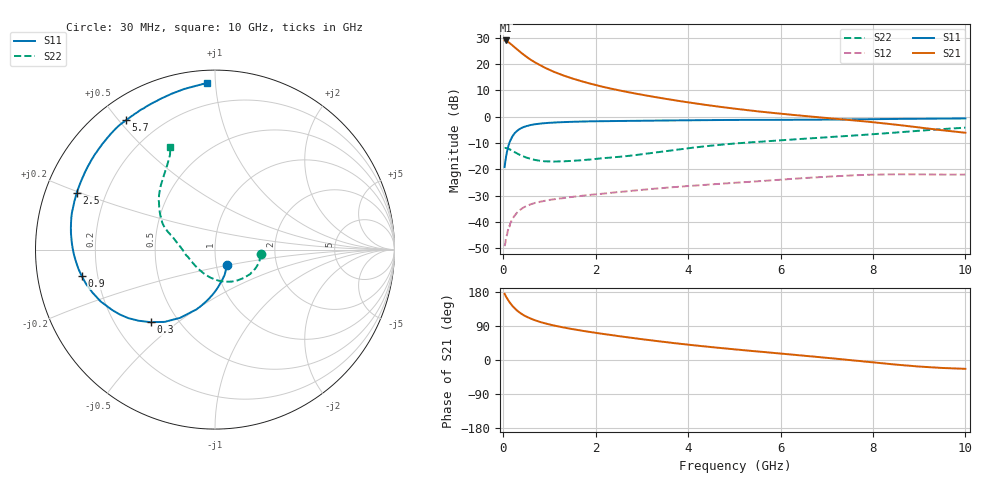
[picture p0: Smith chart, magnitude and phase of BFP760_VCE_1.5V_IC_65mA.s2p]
! Infineon Technologies  Discrete & RF Semiconductors
! BFP760
! VCE =  1.5 V,  IC =  65 mA
! Common Emitter S-Parameters:  Nov 2012
# GHz  S  MA  R  50
!  f  S11  S21  S12  S22
! GHz  MAG  ANG  MAG  ANG  MAG  ANG  MAG  ANG
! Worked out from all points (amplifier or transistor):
!   99 points, 30 MHz to 10 GHz, reference 50 ohm
!   highest |S21| = 29.0 dB at 50 MHz (marker M1)
!   |S21| within 3 dB of that: start of sweep to 274.6 MHz
!   unconditionally stable (mu >= 1): start of sweep to 598.7 MHz; 726 MHz to end of sweep
!   at 350 MHz: K = 1.13, MAG = 28.0 dB, |S12| = -35.5 dB
!   at 3.5 GHz: K = 1.51, MAG = 12.7 dB, |S12| = -27.0 dB
!   at 10 GHz: K = 1.51, MAG = 3.7 dB, |S12| = -21.9 dB
!   S11 on the Smith chart (normalised r, x): 30 MHz: 1.13, -0.20; 300 MHz: 0.35, -0.40; 900 MHz: 0.14, -0.10; 2.5 GHz: 0.09, +0.19; 5.7 GHz: 0.09, +0.52; 10 GHz: 0.07, +0.95
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0.03  0.1109 -52.5  28.1 174.5  0.0035 40.7  0.2562 -6.0
0.05  0.1507 -69.1  28.12 169.7  0.0042 52.5  0.2546 -11.0
0.07  0.1932 -81.8  27.38 165.3  0.0054 47.9  0.2537 -16.4
0.11  0.2741 -96.8  26.21 157.4  0.0074 54.5  0.2475 -25.8
0.15  0.3486 -107.2  24.65 150.4  0.0094 55.8  0.2388 -34.7
0.2  0.4273 -117.1  22.68 142.6  0.0116 53.7  0.2251 -44.6
0.25  0.4911 -124.9  20.74 136.2  0.0134 51.5  0.2126 -53.7
0.3  0.5406 -131.6  19.09 130.5  0.0152 50.3  0.2018 -62.0
0.4  0.6158 -141.7  16.1 121.5  0.018 47.3  0.1824 -76.2
0.5  0.664 -149.5  13.83 114.5  0.0202 44.1  0.1682 -88.5
0.6  0.6996 -155.6  12.01 109.0  0.0219 42.1  0.1585 -98.8
0.7  0.7236 -160.7  10.64 104.3  0.0233 40.4  0.1508 -108.2
0.9  0.7568 -168.7  8.563 96.9  0.0254 38.2  0.1429 -123.8
1.3  0.7922 179.8  6.101 86.0  0.0286 36.5  0.1427 -145.1
1.7  0.8124 171.2  4.714 77.4  0.0316 36.9  0.1495 -158.7
2.5  0.8327 157.9  3.188 63.0  0.0374 37.7  0.1737 -175.8
3.4  0.8481 145.3  2.282 48.9  0.044 37.9  0.2158 169.5
5.1  0.8727 128.6  1.396 27.1  0.0565 35.5  0.3154 155.0
5.7  0.8749 124.6  1.219 20.4  0.0612 34.3  0.3433 150.6
6.7  0.8821 117.6  1.002 9.2  0.0702 30.6  0.3925 142.5
8.5  0.911 100.9  0.708 -12.2  0.081 18.4  0.5025 124.5
10  0.9309 92.7  0.498 -23.3  0.08 12.8  0.622 113.6
